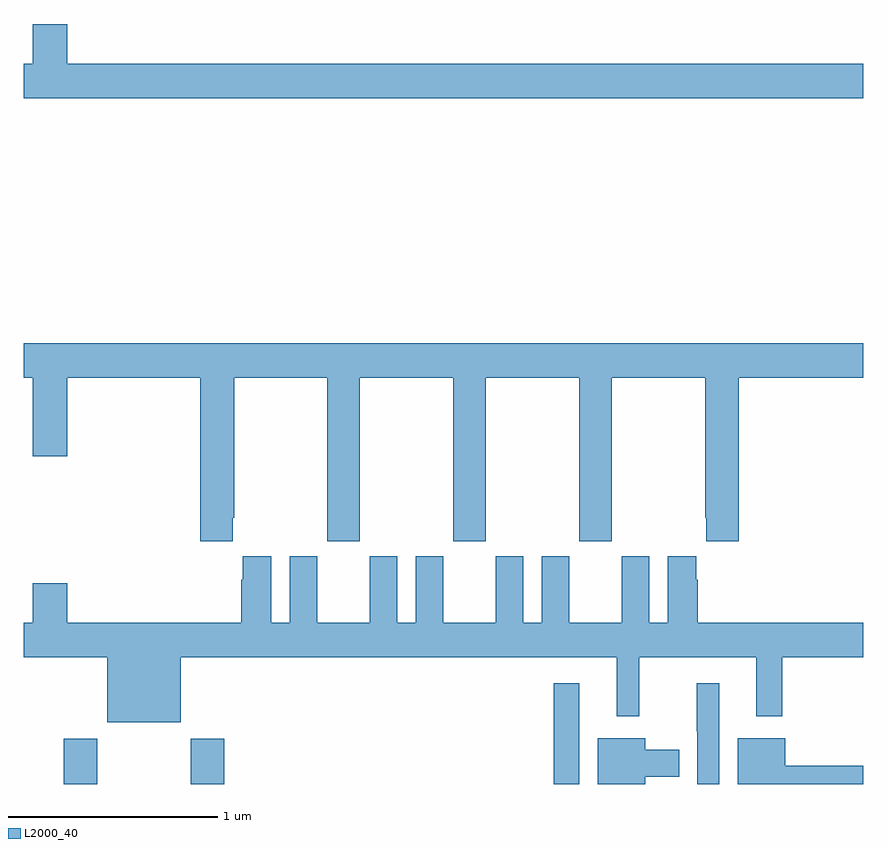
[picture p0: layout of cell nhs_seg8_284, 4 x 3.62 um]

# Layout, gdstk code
import gdstk
lib = gdstk.Library(unit=1e-6, precision=1e-09)
def R(c, l, rs):  # rectangles x0, y0, x1, y1
    for r in rs: c.add(gdstk.rectangle(r[:2], r[2:], *l))
def P(c, l, *ps):  # polygons
    for p in ps: c.add(gdstk.Polygon(p, *l))
L2000_40 = (2000, 40)

nhs_seg8_284 = lib.new_cell('nhs_seg8_284')
R(nhs_seg8_284, L2000_40, [(129.191,1111.9,129.351,1112.116), (129.796,1111.9,129.956,1112.116), (131.526,1111.9,131.647,1112.38)])
P(nhs_seg8_284, L2000_40, [(133,1115.332),(129.208,1115.332),(129.208,1115.521),(129.044,1115.521),(129.044,1115.332),(129,1115.332),(129,1115.168),(133,1115.168)],
  [(129.997,1113.169),(130.002,1113.169),(130.002,1113.836),(130.447,1113.836),(130.447,1113.057),(130.602,1113.057),(130.602,1113.836),(131.047,1113.836),(131.047,1113.057),(131.202,1113.057),(131.202,1113.836),(131.647,1113.836),(131.647,1113.057),(131.802,1113.057),(131.802,1113.836),(132.247,1113.836),(132.247,1113.169),(132.251,1113.169),(132.251,1113.057),(132.407,1113.057),(132.407,1113.836),(133,1113.836),(133,1114),(129,1114),(129,1113.836),(129.044,1113.836),(129.044,1113.462),(129.208,1113.462),(129.208,1113.836),(129.842,1113.836),(129.842,1113.057),(129.997,1113.057)],
  [(129.748,1112.504),(131.825,1112.504),(131.825,1112.223),(131.932,1112.223),(131.932,1112.504),(132.491,1112.504),(132.491,1112.223),(132.613,1112.223),(132.613,1112.504),(133,1112.504),(133,1112.668),(132.212,1112.668),(132.212,1112.873),(132.205,1112.873),(132.205,1112.986),(132.068,1112.986),(132.068,1112.668),(131.98,1112.668),(131.98,1112.986),(131.849,1112.986),(131.849,1112.668),(131.599,1112.668),(131.599,1112.986),(131.468,1112.986),(131.468,1112.668),(131.38,1112.668),(131.38,1112.986),(131.249,1112.986),(131.249,1112.668),(130.999,1112.668),(130.999,1112.986),(130.868,1112.986),(130.868,1112.668),(130.78,1112.668),(130.78,1112.986),(130.649,1112.986),(130.649,1112.668),(130.399,1112.668),(130.399,1112.986),(130.268,1112.986),(130.268,1112.668),(130.18,1112.668),(130.18,1112.986),(130.043,1112.986),(130.043,1112.873),(130.037,1112.873),(130.037,1112.668),(129.208,1112.668),(129.208,1112.857),(129.044,1112.857),(129.044,1112.668),(129,1112.668),(129,1112.504),(129.398,1112.504),(129.398,1112.195),(129.748,1112.195)],
  [(132.313,1112.38),(132.207,1112.38),(132.207,1112.152),(132.209,1112.152),(132.209,1111.9),(132.313,1111.9)],
  [(131.962,1111.934),(132.124,1111.934),(132.124,1112.064),(131.962,1112.064),(131.962,1112.119),(131.735,1112.119),(131.735,1111.9),(131.962,1111.9)],
  [(133,1111.988),(132.628,1111.988),(132.628,1112.119),(132.401,1112.119),(132.401,1111.9),(133,1111.9)])

lib.write_gds('nhs_seg8_284.gds')
